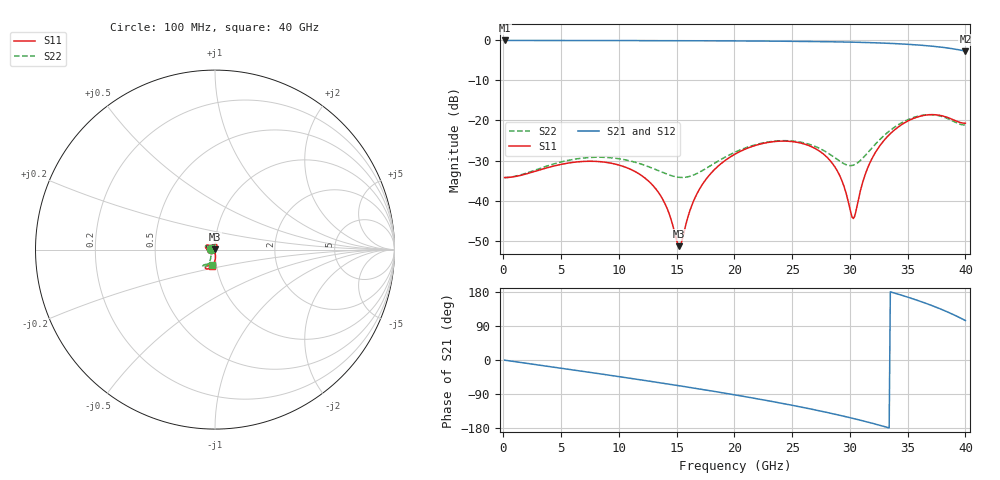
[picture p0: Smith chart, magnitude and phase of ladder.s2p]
! C_s8_ap1000: via ladder as kisi uses it (kisi_si::via_pbm, graded grid, junction model), ports at the via
# Hz S RI R 50
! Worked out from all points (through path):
!   400 points, 100 MHz to 40 GHz, reference 50 ohm
!   highest |S21| = -0.17 dB at 100 MHz (marker M1); lowest = -2.8 dB at 40 GHz (marker M2)
!   group delay of S21, straight-line fit = 16.2 ps
!   lowest |S11| = -51.2 dB at 15.2 GHz (marker M3), VSWR 1.01, Z = 49.9 + j0.244 ohm
!   |S11| at or under -10 dB: start of sweep to end of sweep
!   |S22| runs from -34.2 to -18.6 dB; largest |S21 - S12| = 0
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1e8  -0.0195 0.000687  0.9804 -0.00742  0.9804 -0.00742  -0.0195 0.000684
6.8e9  0.0004 0.031  0.8509 -0.4834  0.8509 -0.4834  -0.00486 0.0337
1.07e10  0.0112 0.0233  0.6664 -0.7142  0.6664 -0.7142  0.00259 0.032
1.34e10  0.00742 0.0106  0.4967 -0.8395  0.4967 -0.8395  -0.000953 0.0239
1.43e10  0.00366 0.0063  0.4332 -0.8733  0.4332 -0.8733  -0.0041 0.0208
1.52e10  -0.00129 0.00244  0.3666 -0.9025  0.3666 -0.9025  -0.00816 0.018
1.54e10  -0.00253 0.00167  0.3514 -0.9084  0.3514 -0.9084  -0.00918 0.0174
1.63e10  -0.00869 -0.00128  0.2812 -0.9316  0.2812 -0.9316  -0.0142 0.015
1.71e10  -0.0148 -0.00307  0.2167 -0.9479  0.2167 -0.9479  -0.0192 0.0133
1.84e10  -0.0253 -0.00399  0.108 -0.9647  0.108 -0.9647  -0.0278 0.0119
2.01e10  -0.0386 -0.00115  -0.0395 -0.9673  -0.0395 -0.9673  -0.0387 0.0125
2.35e10  -0.0528 0.0149  -0.3414 -0.8984  -0.3414 -0.8984  -0.0519 0.0194
2.67e10  -0.0396 0.0255  -0.6101 -0.7301  -0.6101 -0.7301  -0.0452 0.02
2.89e10  -0.0184 0.0151  -0.7655 -0.5488  -0.7655 -0.5488  -0.0324 0.00577
2.95e10  -0.0124 0.00851  -0.8008 -0.4896  -0.8008 -0.4896  -0.029 -0.000997
3.03e10  -0.00537 -0.00287  -0.8415 -0.4041  -0.8415 -0.4041  -0.0252 -0.012
3.16e10  0.00192 -0.027  -0.8885 -0.2504  -0.8885 -0.2504  -0.0227 -0.0338
3.34e10  -0.00185 -0.0663  -0.9032 -0.0121  -0.9032 -0.0121  -0.0301 -0.0671
3.5e10  -0.0203 -0.096  -0.8525 0.2129  -0.8525 0.2129  -0.0473 -0.0903
3.68e10  -0.0469 -0.1077  -0.7057 0.4566  -0.7057 0.4566  -0.067 -0.0968
3.86e10  -0.0495 -0.0948  -0.4484 0.6451  -0.4484 0.6451  -0.0594 -0.0846
4e10  -0.0156 -0.0911  -0.1758 0.7011  -0.1758 0.7011  -0.0194 -0.086
